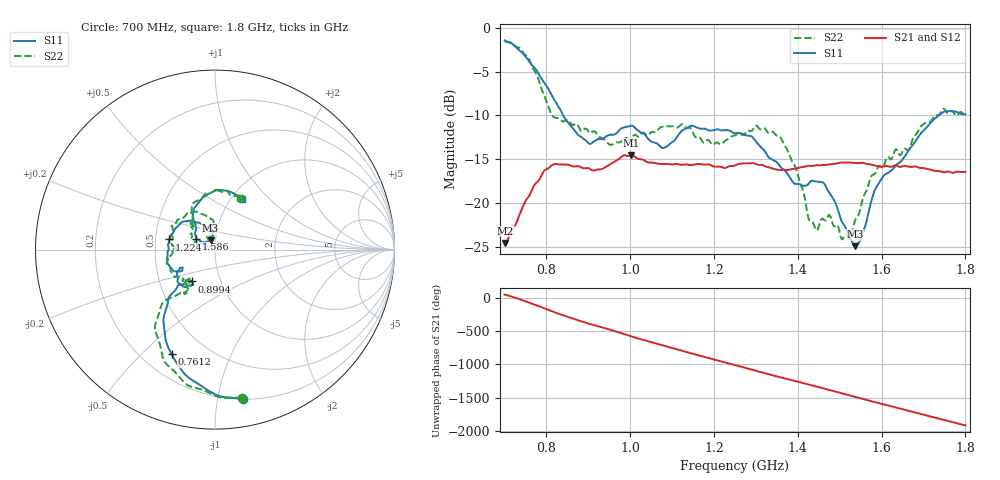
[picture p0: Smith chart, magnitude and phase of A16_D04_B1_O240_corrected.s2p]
! Created with skrf 1.9.0 (http://scikit-rf.org).
# Hz S RI R 50.0
!freq ReS11 ImS11 ReS21 ImS21 ReS12 ImS12 ReS22 ImS22
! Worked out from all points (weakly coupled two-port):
!   1601 points, 700 MHz to 1.8 GHz, reference 50 ohm
!   highest |S21| = -14.56 dB at 1.002 GHz (marker M1); lowest = -24.6 dB at 701.4 MHz (marker M2)
!   lowest |S11| = -25.0 dB at 1.536 GHz (marker M3), VSWR 1.12, Z = 47.4 + j4.84 ohm
!   |S11| at or under -10 dB: 839.7 MHz to 1.737 GHz (896.9 MHz wide, 69.6 % of centre)
!   |S22| runs from -24.2 to -1.5 dB; largest |S21 - S12| = 0.0034
!   S11 on the Smith chart (normalised r, x): 700 MHz: 0.20, -1.19; 761.2 MHz: 0.32, -0.62; 899.4 MHz: 0.73, -0.27; 1.224 GHz: 0.59, +0.07; 1.586 GHz: 0.81, +0.10; 1.8 GHz: 1.13, +0.71
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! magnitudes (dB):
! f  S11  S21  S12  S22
! 700 MHz  -1.4  -24.6  -24.4  -1.5
! 701.4 MHz  -1.5  -24.6  -24.2  -1.5
! 761.2 MHz  -4.0  -19.0  -18.9  -3.9
! 814.1 MHz  -7.9  -15.7  -15.7  -10.0
! 883.6 MHz  -12.5  -16.0  -15.9  -11.8
! 899.4 MHz  -13.1  -16.0  -16.1  -11.8
! 1.002 GHz  -11.2  -14.6  -14.7  -12.6
! 1.067 GHz  -13.4  -15.5  -15.5  -11.6
! 1.145 GHz  -11.2  -15.7  -15.7  -11.5
! 1.224 GHz  -11.7  -16.0  -16.0  -13.0
! 1.25 GHz  -12.1  -15.7  -15.7  -12.3
! 1.301 GHz  -13.1  -15.6  -15.6  -11.2
! 1.359 GHz  -15.9  -16.3  -16.2  -12.5
! 1.395 GHz  -17.8  -16.1  -16.1  -16.0
! 1.434 GHz  -17.5  -15.8  -15.8  -22.2
! 1.464 GHz  -17.9  -15.7  -15.7  -22.0
! 1.507 GHz  -22.3  -15.4  -15.4  -24.2
! 1.536 GHz  -25.0  -15.4  -15.5  -22.1
! 1.586 GHz  -18.3  -15.8  -15.8  -16.5
! 1.617 GHz  -16.5  -15.8  -15.8  -14.8
! 1.74 GHz  -9.9  -16.4  -16.4  -9.8
! 1.8 GHz  -9.9  -16.5  -16.5  -10.0
